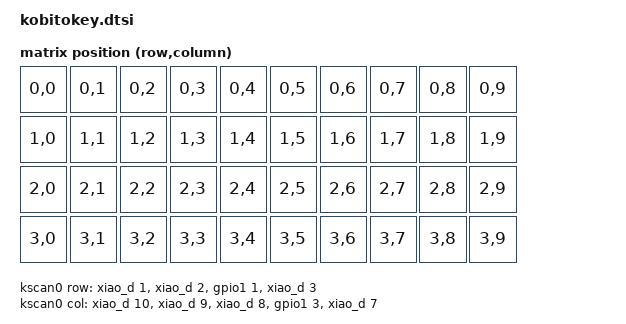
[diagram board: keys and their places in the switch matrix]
#include <dt-bindings/zmk/matrix_transform.h>
#include <dt-bindings/zmk/input_transform.h>
#include <zephyr/dt-bindings/pinctrl/nrf-pinctrl.h>
#include "KobitoKey-layouts.dtsi"

/*
 * 振動：DRV2605L を I2C でつなぐ。左右で配線は同一。
 *
 * i2c1 でなければならない。nRF52840 の TWIM0 は SPIM0 とペリフェラルIDを
 * 共有していて同時に使えず、SPIM0 はトラックボールが握っている。
 *
 * SDA = D6  = P1.11   （旧基板ではここが振動モーターの直結ピンだった）
 * SCL = D18 = P1.05
 * EN  = D19 = P1.07
 *
 * D18/D19 の P番号は Seeed の BSP と実機で食い違う既知の問題がある。
 * BSP は D17=P1.07 / D18=P1.05 / D19=P1.03 と書くが、実機は D17=P1.03 で
 * （col3 が P1.03 で動いている）、3本の集合 {P1.03, P1.05, P1.07} のうち
 * P1.03 が D17 で埋まる。残る P1.05 / P1.07 を下の並びに割り当てている。
 * もし振動だけ無反応なら、まずこの2本を入れ替えて試すこと。
 */
&pinctrl {
    i2c1_default: i2c1_default {
        group1 {
            psels = <NRF_PSEL(TWIM_SDA, 1, 11)>,
                    <NRF_PSEL(TWIM_SCL, 1, 5)>;
        };
    };

    i2c1_sleep: i2c1_sleep {
        group1 {
            psels = <NRF_PSEL(TWIM_SDA, 1, 11)>,
                    <NRF_PSEL(TWIM_SCL, 1, 5)>;
            low-power-enable;
        };
    };
};

&i2c1 {
    status = "okay";
    compatible = "nordic,nrf-twim";
    clock-frequency = <400000>;
    pinctrl-0 = <&i2c1_default>;
    pinctrl-1 = <&i2c1_sleep>;
    pinctrl-names = "default", "sleep";

    haptic_drv: drv2605l@5a {
        compatible = "kobitokey,drv2605l";
        reg = <0x5a>;
        status = "okay";
        en-gpios = <&gpio1 7 GPIO_ACTIVE_HIGH>;
    };
};

/ {
    /* 行列スキャン：rowは左右共通、colは左右で分ける */
    kscan0: kscan0 {
        compatible = "zmk,kscan-gpio-matrix";
        diode-direction = "col2row";
        wakeup-source;

        /* Dピンは &xiao_d <番号> で指定（XIAOフォーマット） */
        row-gpios = <&xiao_d 1 (GPIO_ACTIVE_HIGH | GPIO_PULL_DOWN)>,
                    <&xiao_d 2 (GPIO_ACTIVE_HIGH | GPIO_PULL_DOWN)>,
                    <&gpio1 1 (GPIO_ACTIVE_HIGH | GPIO_PULL_DOWN)>, 
                    <&xiao_d 3 (GPIO_ACTIVE_HIGH | GPIO_PULL_DOWN)>;
        col-gpios = <&xiao_d 10 GPIO_ACTIVE_HIGH>, 
                    <&xiao_d 9 GPIO_ACTIVE_HIGH> , 
                    <&xiao_d 8 GPIO_ACTIVE_HIGH> ,
                    <&gpio1 3 GPIO_ACTIVE_HIGH> ,
                    <&xiao_d 7 GPIO_ACTIVE_HIGH> ; 
    };

    /* 左右合体で 4行×10列（左0..4, 右5..9） */
    default_transform: keymap_transform0 {
        compatible = "zmk,matrix-transform";
        rows = <4>;
        columns = <10>;
        map = <
            RC(0,0) RC(0,1) RC(0,2) RC(0,3) RC(0,4)   RC(0,5) RC(0,6) RC(0,7) RC(0,8) RC(0,9)
            RC(1,0) RC(1,1) RC(1,2) RC(1,3) RC(1,4)   RC(1,5) RC(1,6) RC(1,7) RC(1,8) RC(1,9)
            RC(2,0) RC(2,1) RC(2,2) RC(2,3) RC(2,4)   RC(2,5) RC(2,6) RC(2,7) RC(2,8) RC(2,9)
            RC(3,0) RC(3,1) RC(3,2) RC(3,3) RC(3,4)   RC(3,5) RC(3,6) RC(3,7) RC(3,8) RC(3,9)
        >;
    };

    /* 左側トラックボールを split 入力として扱う（ID=0） */
    split_inputs {
        #address-cells = <1>;
        #size-cells = <0>;

        tb_left_split: tb_left_split@0 {
            compatible = "zmk,input-split";
            reg = <0>;
        };
    };

    /* リスナー（中央で有効化。周辺から来た入力もここで処理） */
    tb_right_listener: tb_right_listener {
        compatible = "zmk,input-listener";
        status = "disabled";
    };

    tb_left_listener: tb_left_listener {
        compatible = "zmk,input-listener";
        status = "disabled";
        device = <&tb_left_split>;
        
    };
};


/ {
    /* ★ 単体の物理レイアウト定義（Studio不要の最小形） */
    physical_layout0: physical_layout_0 {
        compatible = "zmk,physical-layout";
        display-name = "Default Layout";

        /* 既に定義済みの kscan と matrix transform を参照 */
        kscan = <&kscan0>;
        transform = <&default_transform>;
    };

    /* ★ デフォルトで使うレイアウトを chosen で指す */
    chosen {
        zmk,physical-layout = &physical_layout0;
    };

    /*
     * 左右どちらにも要る。キーマップからは呼ばないが、central が
     * peripheral 側を鳴らすとき、この名前で向こうの behavior を叩く。
     * 名前で引くので、片側にしか無いと左手が黙る。
     *
     * 名前は8文字までしか向こうに届かない。分割リンクが behavior 名に
     * 割いている枠が終端込みで9バイトしかなく (ZMK_SPLIT_RUN_BEHAVIOR_
     * DEV_LEN)、はみ出した分は黙って切り落とされる。切り詰められても
     * 送信は成功として返るので、向こうで名前が引けずに何も起きない、
     * という形の失敗になる。最初は haptic_tick と名付けていて、これに
     * 引っかかった。
     */
    behaviors {
        hap_tick: hap_tick {
            compatible = "kobitokey,behavior-haptic-tick";
            #binding-cells = <1>;
        };
    };
};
